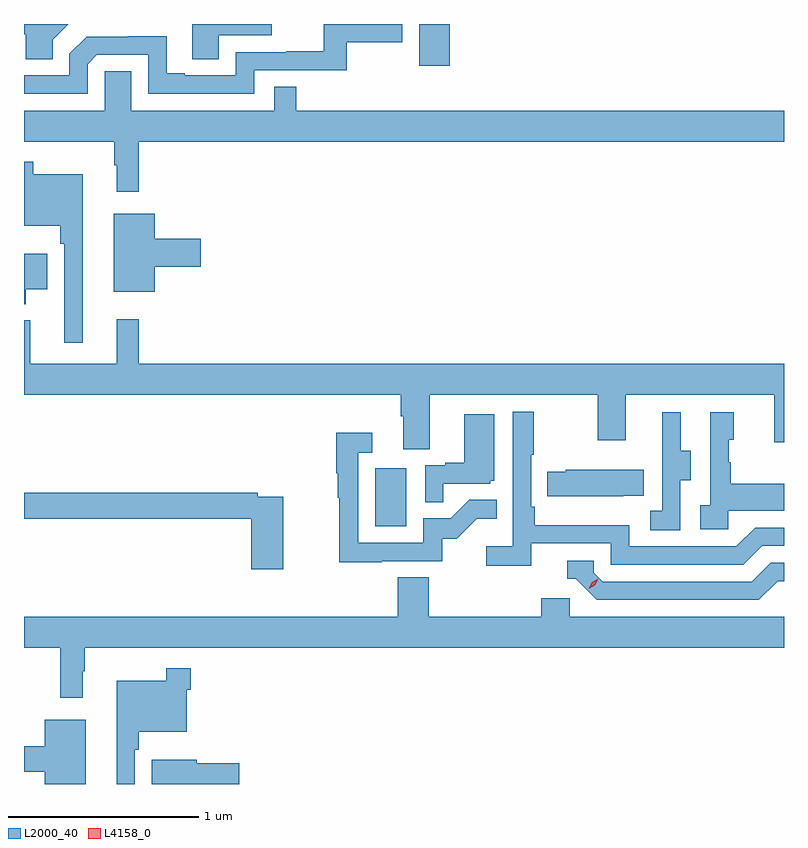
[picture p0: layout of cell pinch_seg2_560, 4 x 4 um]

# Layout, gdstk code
import gdstk
lib = gdstk.Library(unit=1e-6, precision=1e-09)
def R(c, l, rs):  # rectangles x0, y0, x1, y1
    for r in rs: c.add(gdstk.rectangle(r[:2], r[2:], *l))
def P(c, l, *ps):  # polygons
    for p in ps: c.add(gdstk.Polygon(p, *l))
L2000_40 = (2000, 40)
L4158_0 = (4158, 0)

pinch_seg2_560 = lib.new_cell('pinch_seg2_560')
R(pinch_seg2_560, L2000_40, [(1085.288,608.316,1085.452,608.623), (1085.519,610.74,1085.68,610.96)])
P(pinch_seg2_560, L2000_40, [(1084.465,610.902),(1084.742,610.902),(1084.742,610.96),(1084.325,610.96),(1084.325,610.774),(1084.465,610.774)],
  [(1083.774,610.749),(1083.822,610.797),(1084.092,610.797),(1084.092,610.593),(1084.65,610.593),(1084.65,610.716),(1085.137,610.716),(1085.137,610.863),(1085.43,610.863),(1085.43,610.96),(1085.016,610.96),(1085.016,610.817),(1084.819,610.817),(1084.819,610.812),(1084.554,610.812),(1084.554,610.689),(1084.285,610.689),(1084.285,610.702),(1084.189,610.702),(1084.189,610.895),(1083.984,610.895),(1083.984,610.893),(1083.768,610.893),(1083.678,610.803),(1083.678,610.689),(1083.439,610.689),(1083.439,610.593),(1083.774,610.593)],
  [(1083.589,610.876),(1083.673,610.96),(1083.439,610.96),(1083.439,610.906),(1083.449,610.906),(1083.449,610.774),(1083.589,610.774)],
  [(1084.043,610.34),(1087.439,610.34),(1087.439,610.504),(1084.871,610.504),(1084.871,610.631),(1084.755,610.631),(1084.755,610.504),(1084.003,610.504),(1084.003,610.712),(1083.864,610.712),(1083.864,610.504),(1083.439,610.504),(1083.439,610.34),(1083.915,610.34),(1083.915,610.217),(1083.926,610.217),(1083.926,610.077),(1084.043,610.077)],
  [(1083.748,610.168),(1083.487,610.168),(1083.487,610.234),(1083.439,610.234),(1083.439,609.899),(1083.631,609.899),(1083.631,609.803),(1083.651,609.803),(1083.651,609.282),(1083.748,609.282)],
  [(1084.126,609.683),(1084.369,609.683),(1084.369,609.83),(1084.126,609.83),(1084.126,609.961),(1083.911,609.961),(1083.911,609.551),(1084.126,609.551)],
  [(1083.448,609.563),(1083.562,609.563),(1083.562,609.751),(1083.439,609.751),(1083.439,609.485),(1083.448,609.485)],
  [(1085.575,609.008),(1086.46,609.008),(1086.46,608.769),(1086.607,608.769),(1086.607,609.008),(1087.388,609.008),(1087.388,608.76),(1087.439,608.76),(1087.439,609.172),(1084.043,609.172),(1084.043,609.406),(1083.926,609.406),(1083.926,609.172),(1083.473,609.172),(1083.473,609.4),(1083.439,609.4),(1083.439,609.008),(1085.423,609.008),(1085.423,608.896),(1085.435,608.896),(1085.435,608.722),(1085.575,608.722)],
  [(1086.11,608.226),(1086.528,608.226),(1086.528,608.115),(1087.225,608.115),(1087.324,608.214),(1087.439,608.214),(1087.439,608.31),(1087.287,608.31),(1087.188,608.211),(1086.624,608.211),(1086.624,608.323),(1086.128,608.323),(1086.128,608.419),(1086.108,608.419),(1086.108,608.692),(1086.121,608.692),(1086.121,608.92),(1086.012,608.92),(1086.012,608.212),(1085.871,608.212),(1085.871,608.11),(1086.11,608.11)],
  [(1086.894,608.56),(1086.949,608.56),(1086.949,608.715),(1086.895,608.715),(1086.895,608.917),(1086.797,608.917),(1086.797,608.703),(1086.798,608.703),(1086.798,608.399),(1086.735,608.399),(1086.735,608.296),(1086.894,608.296)],
  [(1087.146,608.399),(1087.439,608.399),(1087.439,608.539),(1087.159,608.539),(1087.159,608.654),(1087.149,608.654),(1087.149,608.772),(1087.174,608.772),(1087.174,608.917),(1087.05,608.917),(1087.05,608.426),(1086.999,608.426),(1086.999,608.301),(1087.146,608.301)],
  [(1085.645,608.541),(1085.892,608.541),(1085.892,608.556),(1085.914,608.556),(1085.914,608.905),(1085.756,608.905),(1085.756,608.65),(1085.657,608.65),(1085.657,608.637),(1085.55,608.637),(1085.55,608.443),(1085.645,608.443)],
  [(1085.321,608.133),(1085.64,608.133),(1085.64,608.25),(1085.716,608.25),(1085.823,608.357),(1085.927,608.357),(1085.927,608.456),(1085.783,608.456),(1085.685,608.358),(1085.541,608.358),(1085.541,608.229),(1085.199,608.229),(1085.199,608.703),(1085.272,608.703),(1085.272,608.809),(1085.083,608.809),(1085.083,608.596),(1085.091,608.596),(1085.091,608.466),(1085.098,608.466),(1085.098,608.128),(1085.321,608.128)],
  [(1086.593,608.477),(1086.701,608.477),(1086.701,608.614),(1086.291,608.614),(1086.291,608.604),(1086.193,608.604),(1086.193,608.474),(1086.593,608.474)],
  [(1084.804,608.472),(1084.67,608.472),(1084.67,608.492),(1083.439,608.492),(1083.439,608.356),(1084.634,608.356),(1084.634,608.091),(1084.804,608.091)],
  [(1087.405,608.028),(1087.439,608.028),(1087.439,608.124),(1087.368,608.124),(1087.269,608.025),(1086.486,608.025),(1086.438,608.073),(1086.438,608.136),(1086.299,608.136),(1086.299,608.04),(1086.342,608.04),(1086.453,607.929),(1087.306,607.929)],
  [(1083.748,607.553),(1083.76,607.553),(1083.76,607.676),(1087.439,607.676),(1087.439,607.84),(1086.312,607.84),(1086.312,607.938),(1086.161,607.938),(1086.161,607.84),(1085.57,607.84),(1085.57,608.048),(1085.405,608.048),(1085.405,607.84),(1083.439,607.84),(1083.439,607.676),(1083.631,607.676),(1083.631,607.413),(1083.748,607.413)],
  [(1084.023,607.139),(1084.043,607.139),(1084.043,607.235),(1084.296,607.235),(1084.296,607.457),(1084.316,607.457),(1084.316,607.57),(1084.188,607.57),(1084.188,607.504),(1083.926,607.504),(1083.926,606.96),(1084.023,606.96)],
  [(1083.763,607.297),(1083.548,607.297),(1083.548,607.16),(1083.439,607.16),(1083.439,607.024),(1083.548,607.024),(1083.548,606.96),(1083.763,606.96)],
  [(1084.573,607.07),(1084.348,607.07),(1084.348,607.087),(1084.112,607.087),(1084.112,606.96),(1084.573,606.96)])
P(pinch_seg2_560, L4158_0, [(1086.412,607.988),(1086.412,607.988),(1086.429,608.021),(1086.461,608.04),(1086.461,608.04),(1086.461,608.04),(1086.444,608.007),(1086.412,607.988)])

lib.write_gds('pinch_seg2_560.gds')
